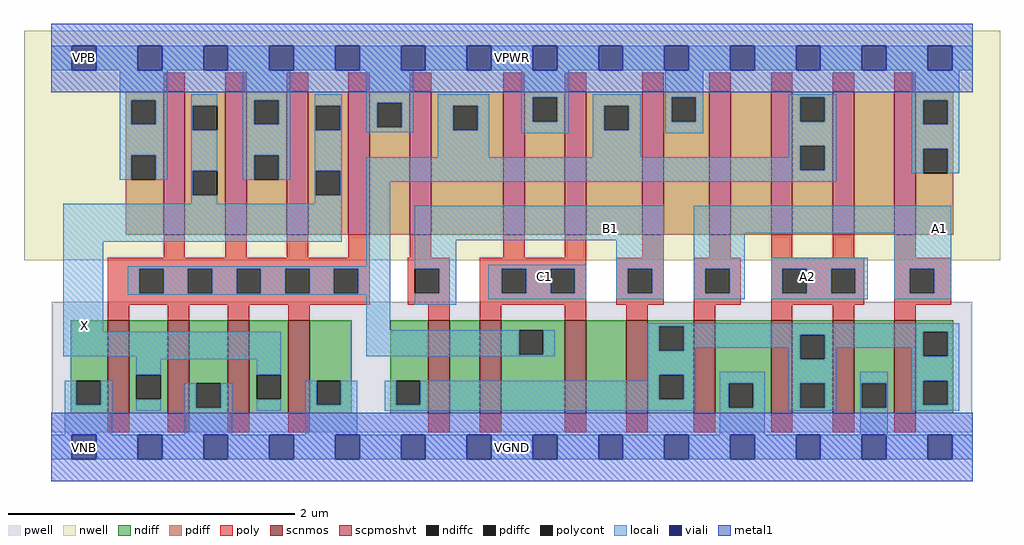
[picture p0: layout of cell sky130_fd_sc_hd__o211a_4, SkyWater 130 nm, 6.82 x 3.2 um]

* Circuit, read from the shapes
.subckt sky130_fd_sc_hd__o211a_4 A1 A2 B1 C1 VGND VNB VPB VPWR X
XM1 X n1 VGND VNB sky130_fd_pr__nfet_01v8 w=0.65 l=0.15 m=4
XM2 n2 B1 n3 VNB sky130_fd_pr__nfet_01v8 w=0.65 l=0.15
XM3 n1 C1 n2 VNB sky130_fd_pr__nfet_01v8 w=0.65 l=0.15
XM4 n4 C1 n1 VNB sky130_fd_pr__nfet_01v8 w=0.65 l=0.15
XM5 n3 B1 n4 VNB sky130_fd_pr__nfet_01v8 w=0.65 l=0.15
XM6 VGND A1 n3 VNB sky130_fd_pr__nfet_01v8 w=0.65 l=0.15 m=2
XM7 n3 A2 VGND VNB sky130_fd_pr__nfet_01v8 w=0.65 l=0.15 m=2
XM8 X n1 VPWR VPB sky130_fd_pr__pfet_01v8_hvt w=1 l=0.15 m=4
XM9 n1 B1 VPWR VPB sky130_fd_pr__pfet_01v8_hvt w=1 l=0.15 m=2
XM10 VPWR C1 n1 VPB sky130_fd_pr__pfet_01v8_hvt w=1 l=0.15 m=2
XM11 n5 A1 VPWR VPB sky130_fd_pr__pfet_01v8_hvt w=1 l=0.15
XM12 n1 A2 n5 VPB sky130_fd_pr__pfet_01v8_hvt w=1 l=0.15
XM13 n6 A2 n1 VPB sky130_fd_pr__pfet_01v8_hvt w=1 l=0.15
XM14 VPWR A1 n6 VPB sky130_fd_pr__pfet_01v8_hvt w=1 l=0.15
.ends

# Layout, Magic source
magic
tech sky130A
magscale 1 2
<< nwell >>
rect -38 261 1326 582
<< pwell >>
rect 1 21 1287 203
rect 29 -17 63 21
<< scnmos >>
rect 79 47 109 177
rect 163 47 193 177
rect 247 47 277 177
rect 331 47 361 177
rect 527 47 557 177
rect 599 47 629 177
rect 718 47 748 177
rect 804 47 834 177
rect 898 47 928 177
rect 1006 47 1036 177
rect 1092 47 1122 177
rect 1178 47 1208 177
<< scpmoshvt >>
rect 157 297 187 497
rect 243 297 273 497
rect 329 297 359 497
rect 415 297 445 497
rect 501 297 531 497
rect 632 297 662 497
rect 718 297 748 497
rect 826 297 856 497
rect 920 297 950 497
rect 1006 297 1036 497
rect 1092 297 1122 497
rect 1178 297 1208 497
<< ndiff >>
rect 27 93 79 177
rect 27 59 35 93
rect 69 59 79 93
rect 27 47 79 59
rect 109 101 163 177
rect 109 67 119 101
rect 153 67 163 101
rect 109 47 163 67
rect 193 89 247 177
rect 193 55 203 89
rect 237 55 247 89
rect 193 47 247 55
rect 277 101 331 177
rect 277 67 287 101
rect 321 67 331 101
rect 277 47 331 67
rect 361 93 420 177
rect 361 59 371 93
rect 405 59 420 93
rect 361 47 420 59
rect 474 93 527 177
rect 474 59 482 93
rect 516 59 527 93
rect 474 47 527 59
rect 557 47 599 177
rect 629 163 718 177
rect 629 129 654 163
rect 688 129 718 163
rect 629 47 718 129
rect 748 47 804 177
rect 834 169 898 177
rect 834 135 850 169
rect 884 135 898 169
rect 834 101 898 135
rect 834 67 850 101
rect 884 67 898 101
rect 834 47 898 67
rect 928 89 1006 177
rect 928 55 947 89
rect 981 55 1006 89
rect 928 47 1006 55
rect 1036 157 1092 177
rect 1036 123 1047 157
rect 1081 123 1092 157
rect 1036 89 1092 123
rect 1036 55 1047 89
rect 1081 55 1092 89
rect 1036 47 1092 55
rect 1122 89 1178 177
rect 1122 55 1133 89
rect 1167 55 1178 89
rect 1122 47 1178 55
rect 1208 161 1261 177
rect 1208 127 1219 161
rect 1253 127 1261 161
rect 1208 93 1261 127
rect 1208 59 1219 93
rect 1253 59 1261 93
rect 1208 47 1261 59
<< pdiff >>
rect 104 485 157 497
rect 104 451 112 485
rect 146 451 157 485
rect 104 408 157 451
rect 104 374 112 408
rect 146 374 157 408
rect 104 297 157 374
rect 187 477 243 497
rect 187 443 198 477
rect 232 443 243 477
rect 187 386 243 443
rect 187 352 198 386
rect 232 352 243 386
rect 187 297 243 352
rect 273 485 329 497
rect 273 451 284 485
rect 318 451 329 485
rect 273 408 329 451
rect 273 374 284 408
rect 318 374 329 408
rect 273 297 329 374
rect 359 477 415 497
rect 359 443 370 477
rect 404 443 415 477
rect 359 386 415 443
rect 359 352 370 386
rect 404 352 415 386
rect 359 297 415 352
rect 445 481 501 497
rect 445 447 456 481
rect 490 447 501 481
rect 445 297 501 447
rect 531 477 632 497
rect 531 443 562 477
rect 596 443 632 477
rect 531 297 632 443
rect 662 489 718 497
rect 662 455 673 489
rect 707 455 718 489
rect 662 297 718 455
rect 748 477 826 497
rect 748 443 773 477
rect 807 443 826 477
rect 748 297 826 443
rect 856 489 920 497
rect 856 455 867 489
rect 901 455 920 489
rect 856 297 920 455
rect 950 297 1006 497
rect 1036 489 1092 497
rect 1036 455 1047 489
rect 1081 455 1092 489
rect 1036 421 1092 455
rect 1036 387 1047 421
rect 1081 387 1092 421
rect 1036 297 1092 387
rect 1122 297 1178 497
rect 1208 485 1261 497
rect 1208 451 1219 485
rect 1253 451 1261 485
rect 1208 417 1261 451
rect 1208 383 1219 417
rect 1253 383 1261 417
rect 1208 297 1261 383
<< ndiffc >>
rect 35 59 69 93
rect 119 67 153 101
rect 203 55 237 89
rect 287 67 321 101
rect 371 59 405 93
rect 482 59 516 93
rect 654 129 688 163
rect 850 135 884 169
rect 850 67 884 101
rect 947 55 981 89
rect 1047 123 1081 157
rect 1047 55 1081 89
rect 1133 55 1167 89
rect 1219 127 1253 161
rect 1219 59 1253 93
<< pdiffc >>
rect 112 451 146 485
rect 112 374 146 408
rect 198 443 232 477
rect 198 352 232 386
rect 284 451 318 485
rect 284 374 318 408
rect 370 443 404 477
rect 370 352 404 386
rect 456 447 490 481
rect 562 443 596 477
rect 673 455 707 489
rect 773 443 807 477
rect 867 455 901 489
rect 1047 455 1081 489
rect 1047 387 1081 421
rect 1219 451 1253 485
rect 1219 383 1253 417
<< poly >>
rect 157 497 187 523
rect 243 497 273 523
rect 329 497 359 523
rect 415 497 445 523
rect 501 497 531 523
rect 632 497 662 523
rect 718 497 748 523
rect 826 497 856 523
rect 920 497 950 523
rect 1006 497 1036 523
rect 1092 497 1122 523
rect 1178 497 1208 523
rect 157 265 187 297
rect 243 265 273 297
rect 329 265 359 297
rect 415 265 445 297
rect 501 265 531 297
rect 632 265 662 297
rect 718 265 748 297
rect 826 265 856 297
rect 920 265 950 297
rect 1006 265 1036 297
rect 1092 265 1122 297
rect 1178 265 1208 297
rect 79 249 445 265
rect 79 215 123 249
rect 157 215 191 249
rect 225 215 259 249
rect 293 215 327 249
rect 361 215 395 249
rect 429 215 445 249
rect 79 199 445 215
rect 498 249 557 265
rect 498 215 508 249
rect 542 215 557 249
rect 498 199 557 215
rect 79 177 109 199
rect 163 177 193 199
rect 247 177 277 199
rect 331 177 361 199
rect 527 177 557 199
rect 599 249 748 265
rect 599 215 630 249
rect 664 215 698 249
rect 732 215 748 249
rect 599 199 748 215
rect 790 249 856 265
rect 790 215 806 249
rect 840 215 856 249
rect 790 199 856 215
rect 898 249 964 265
rect 898 215 914 249
rect 948 215 964 249
rect 898 199 964 215
rect 1006 249 1136 265
rect 1006 215 1022 249
rect 1056 215 1090 249
rect 1124 215 1136 249
rect 1006 199 1136 215
rect 1178 249 1258 265
rect 1178 215 1200 249
rect 1234 215 1258 249
rect 1178 199 1258 215
rect 599 177 629 199
rect 718 177 748 199
rect 804 177 834 199
rect 898 177 928 199
rect 1006 177 1036 199
rect 1092 177 1122 199
rect 1178 177 1208 199
rect 79 21 109 47
rect 163 21 193 47
rect 247 21 277 47
rect 331 21 361 47
rect 527 21 557 47
rect 599 21 629 47
rect 718 21 748 47
rect 804 21 834 47
rect 898 21 928 47
rect 1006 21 1036 47
rect 1092 21 1122 47
rect 1178 21 1208 47
<< polycont >>
rect 123 215 157 249
rect 191 215 225 249
rect 259 215 293 249
rect 327 215 361 249
rect 395 215 429 249
rect 508 215 542 249
rect 630 215 664 249
rect 698 215 732 249
rect 806 215 840 249
rect 914 215 948 249
rect 1022 215 1056 249
rect 1090 215 1124 249
rect 1200 215 1234 249
<< locali >>
rect 0 527 29 561
rect 63 527 121 561
rect 155 527 213 561
rect 247 527 305 561
rect 339 527 397 561
rect 431 527 489 561
rect 523 527 581 561
rect 615 527 673 561
rect 707 527 765 561
rect 799 527 857 561
rect 891 527 949 561
rect 983 527 1041 561
rect 1075 527 1133 561
rect 1167 527 1225 561
rect 1259 527 1288 561
rect 96 485 162 527
rect 96 451 112 485
rect 146 451 162 485
rect 96 408 162 451
rect 96 374 112 408
rect 146 374 162 408
rect 196 477 232 493
rect 196 443 198 477
rect 196 386 232 443
rect 196 352 198 386
rect 268 485 334 527
rect 268 451 284 485
rect 318 451 334 485
rect 268 408 334 451
rect 268 374 284 408
rect 318 374 334 408
rect 368 477 406 493
rect 368 443 370 477
rect 404 443 406 477
rect 368 386 406 443
rect 440 481 506 527
rect 440 447 456 481
rect 490 447 506 481
rect 440 440 506 447
rect 540 477 612 493
rect 540 443 562 477
rect 596 443 612 477
rect 540 405 612 443
rect 657 489 723 527
rect 657 455 673 489
rect 707 455 723 489
rect 657 439 723 455
rect 757 477 824 493
rect 757 443 773 477
rect 807 443 824 477
rect 757 405 824 443
rect 858 489 911 527
rect 858 455 867 489
rect 901 455 911 489
rect 858 439 911 455
rect 1031 489 1097 493
rect 1031 455 1047 489
rect 1081 455 1097 489
rect 1031 421 1097 455
rect 1031 405 1047 421
rect 196 340 232 352
rect 368 352 370 386
rect 404 352 406 386
rect 368 340 406 352
rect 17 287 406 340
rect 440 387 1047 405
rect 1081 387 1097 421
rect 440 371 1097 387
rect 1203 485 1269 527
rect 1203 451 1219 485
rect 1253 451 1269 485
rect 1203 417 1269 451
rect 1203 383 1219 417
rect 1253 383 1269 417
rect 17 161 73 287
rect 440 253 474 371
rect 107 249 474 253
rect 107 215 123 249
rect 157 215 191 249
rect 225 215 259 249
rect 293 215 327 249
rect 361 215 395 249
rect 429 215 474 249
rect 107 213 474 215
rect 440 163 474 213
rect 508 289 856 337
rect 508 249 566 289
rect 542 215 566 249
rect 508 199 566 215
rect 611 249 748 255
rect 611 215 630 249
rect 664 215 698 249
rect 732 215 748 249
rect 611 207 748 215
rect 790 249 856 289
rect 790 215 806 249
rect 840 215 856 249
rect 790 207 856 215
rect 898 299 1258 337
rect 898 249 969 299
rect 898 215 914 249
rect 948 215 969 249
rect 898 207 969 215
rect 1006 249 1141 265
rect 1006 215 1022 249
rect 1056 215 1090 249
rect 1124 215 1141 249
rect 1006 207 1141 215
rect 1178 249 1258 299
rect 1178 215 1200 249
rect 1234 215 1258 249
rect 1178 207 1258 215
rect 834 169 1269 173
rect 17 127 321 161
rect 440 129 654 163
rect 688 129 704 163
rect 440 127 704 129
rect 834 135 850 169
rect 884 161 1269 169
rect 884 157 1219 161
rect 884 139 1047 157
rect 884 135 900 139
rect 119 123 321 127
rect 119 101 153 123
rect 19 59 35 93
rect 69 59 85 93
rect 19 17 85 59
rect 287 101 321 123
rect 119 51 153 67
rect 187 55 203 89
rect 237 55 253 89
rect 187 17 253 55
rect 834 101 900 135
rect 1031 123 1047 139
rect 1081 139 1219 157
rect 1081 123 1097 139
rect 834 93 850 101
rect 287 51 321 67
rect 355 59 371 93
rect 405 59 428 93
rect 355 17 428 59
rect 466 59 482 93
rect 516 67 850 93
rect 884 67 900 101
rect 516 59 900 67
rect 466 51 900 59
rect 934 89 997 105
rect 934 55 947 89
rect 981 55 997 89
rect 934 17 997 55
rect 1031 89 1097 123
rect 1203 127 1219 139
rect 1253 127 1269 161
rect 1031 55 1047 89
rect 1081 55 1097 89
rect 1031 51 1097 55
rect 1131 89 1169 105
rect 1131 55 1133 89
rect 1167 55 1169 89
rect 1131 17 1169 55
rect 1203 93 1269 127
rect 1203 59 1219 93
rect 1253 59 1269 93
rect 1203 51 1269 59
rect 0 -17 29 17
rect 63 -17 121 17
rect 155 -17 213 17
rect 247 -17 305 17
rect 339 -17 397 17
rect 431 -17 489 17
rect 523 -17 581 17
rect 615 -17 673 17
rect 707 -17 765 17
rect 799 -17 857 17
rect 891 -17 949 17
rect 983 -17 1041 17
rect 1075 -17 1133 17
rect 1167 -17 1225 17
rect 1259 -17 1288 17
<< viali >>
rect 29 527 63 561
rect 121 527 155 561
rect 213 527 247 561
rect 305 527 339 561
rect 397 527 431 561
rect 489 527 523 561
rect 581 527 615 561
rect 673 527 707 561
rect 765 527 799 561
rect 857 527 891 561
rect 949 527 983 561
rect 1041 527 1075 561
rect 1133 527 1167 561
rect 1225 527 1259 561
rect 29 -17 63 17
rect 121 -17 155 17
rect 213 -17 247 17
rect 305 -17 339 17
rect 397 -17 431 17
rect 489 -17 523 17
rect 581 -17 615 17
rect 673 -17 707 17
rect 765 -17 799 17
rect 857 -17 891 17
rect 949 -17 983 17
rect 1041 -17 1075 17
rect 1133 -17 1167 17
rect 1225 -17 1259 17
<< metal1 >>
rect 0 561 1288 592
rect 0 527 29 561
rect 63 527 121 561
rect 155 527 213 561
rect 247 527 305 561
rect 339 527 397 561
rect 431 527 489 561
rect 523 527 581 561
rect 615 527 673 561
rect 707 527 765 561
rect 799 527 857 561
rect 891 527 949 561
rect 983 527 1041 561
rect 1075 527 1133 561
rect 1167 527 1225 561
rect 1259 527 1288 561
rect 0 496 1288 527
rect 0 17 1288 48
rect 0 -17 29 17
rect 63 -17 121 17
rect 155 -17 213 17
rect 247 -17 305 17
rect 339 -17 397 17
rect 431 -17 489 17
rect 523 -17 581 17
rect 615 -17 673 17
rect 707 -17 765 17
rect 799 -17 857 17
rect 891 -17 949 17
rect 983 -17 1041 17
rect 1075 -17 1133 17
rect 1167 -17 1225 17
rect 1259 -17 1288 17
rect 0 -48 1288 -17
<< labels >>
flabel locali s 1224 289 1258 323 0 FreeSans 340 0 0 0 A1
port 1 nsew signal input
flabel locali s 29 153 63 187 0 FreeSans 340 0 0 0 X
port 9 nsew signal output
flabel locali s 672 221 706 255 0 FreeSans 340 0 0 0 C1
port 4 nsew signal input
flabel locali s 1040 221 1074 255 0 FreeSans 340 0 0 0 A2
port 2 nsew signal input
flabel locali s 764 289 798 323 0 FreeSans 340 0 0 0 B1
port 3 nsew signal input
flabel pwell s 29 -17 63 17 0 FreeSans 200 0 0 0 VNB
port 6 nsew ground bidirectional
flabel nwell s 29 527 63 561 0 FreeSans 200 0 0 0 VPB
port 7 nsew power bidirectional
flabel metal1 s 29 -17 63 17 0 FreeSans 200 0 0 0 VGND
port 5 nsew ground bidirectional abutment
flabel metal1 s 29 527 63 561 0 FreeSans 200 0 0 0 VPWR
port 8 nsew power bidirectional abutment
rlabel comment s 0 0 0 0 4 o211a_4
rlabel metal1 s 0 -48 1288 48 1 VGND
port 5 nsew ground bidirectional abutment
rlabel metal1 s 0 496 1288 592 1 VPWR
port 8 nsew power bidirectional abutment
<< properties >>
string FIXED_BBOX 0 0 1288 544
string GDS_END 770896
string GDS_FILE $PDKPATH/libs.ref/sky130_fd_sc_hd/gds/sky130_fd_sc_hd.gds
string GDS_START 761900
string LEFclass CORE
string LEFsite unithd
string LEFsymmetry X Y R90
string path 0.000 0.000 6.440 0.000 
<< end >>
